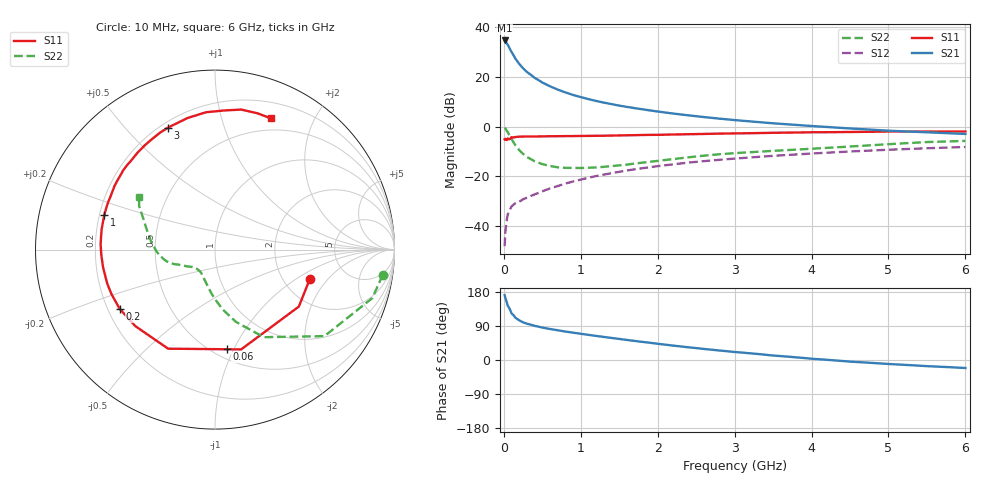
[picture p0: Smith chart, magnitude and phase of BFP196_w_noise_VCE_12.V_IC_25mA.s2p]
! Infineon Technologies  Discrete & RF Semiconductors
! BFP196
! VCE =  12. V,  IC =  25 mA
! Common Emitter S-Parameters:  Jan 2017
# GHz  S  MA  R  50
!  f  S11  S21  S12  S22
! GHz  MAG  ANG  MAG  ANG  MAG  ANG  MAG  ANG
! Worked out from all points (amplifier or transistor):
!   77 points, 10 MHz to 6 GHz, reference 50 ohm
!   highest |S21| = 34.7 dB at 10 MHz (marker M1)
!   |S21| within 3 dB of that: start of sweep to 72.11 MHz
!   unconditionally stable (mu >= 1): 780.2 MHz to 2.378 GHz
!   at 130 MHz: K = 0.42, MSG = 29.9 dB, |S12| = -31.4 dB
!   at 2.2 GHz: K = 1.01, MAG = 9.5 dB, |S12| = -15.2 dB
!   at 6 GHz: K = 0.92, MSG = 2.6 dB, |S12| = -8.2 dB
!   lowest NFmin = 1.15 dB at 450 MHz
!   S11 on the Smith chart (normalised r, x): 10 MHz: 2.77, -1.32; 60 MHz: 0.58, -0.94; 200 MHz: 0.25, -0.27; 1 GHz: 0.22, +0.14; 3 GHz: 0.23, +0.66; 6 GHz: 0.37, +1.45
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0.01  0.553 -17.4  54.12 171.3  0.0039 71.6  0.9449 -8.6
0.02  0.5647 -34.2  53.06 163.6  0.0077 70.3  0.9174 -17.1
0.05  0.5748 -75.3  44.59 143.5  0.0168 60.4  0.7775 -38.3
0.06  0.5589 -83.4  41.67 140.4  0.0183 57.7  0.7264 -41.7
0.1  0.6107 -115.3  31.7 123.0  0.0245 50.2  0.5586 -60.9
0.15  0.6156 -136.2  23.34 111.8  0.0286 45.4  0.4185 -73.9
0.2  0.6252 -148.2  18.26 104.6  0.0306 46.4  0.3357 -82.8
0.25  0.6278 -156.7  14.9 99.4  0.0343 46.9  0.2816 -89.1
0.3  0.6296 -162.5  12.55 95.8  0.037 49.0  0.2443 -94.8
0.4  0.6314 -171.0  9.575 90.0  0.043 53.3  0.1995 -103.1
0.5  0.6342 -177.4  7.697 85.6  0.0495 54.6  0.1753 -109.9
0.6  0.6377 177.6  6.457 81.8  0.0568 56.4  0.1609 -115.9
0.7  0.639 173.5  5.545 78.5  0.0633 58.5  0.1508 -120.5
1  0.6461 162.7  3.915 69.2  0.0855 59.6  0.1463 -132.0
1.1  0.6486 159.3  3.567 66.4  0.0929 59.5  0.1478 -134.4
1.5  0.6628 147.6  2.639 55.6  0.1227 57.3  0.1652 -144.7
2.1  0.6854 131.1  1.915 40.5  0.1663 51.7  0.2122 -156.1
3  0.7284 111.1  1.349 21.1  0.2262 41.6  0.2915 -169.6
3.1  0.7309 109.2  1.309 19.5  0.2322 40.4  0.2975 -171.3
4.1  0.7679 92.2  1.002 2.0  0.2915 29.2  0.3644 171.1
5.1  0.7932 78.1  0.813 -11.6  0.3458 17.8  0.4499 154.6
6  0.7949 66.9  0.709 -21.1  0.3875 7.6  0.5137 145.4
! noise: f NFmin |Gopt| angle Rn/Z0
0.45  1.15  0.34  164  0.05
0.9  1.34  0.45  -176  0.06
1.9  2.21  0.68  -136  0.24
2.4  2.64  0.71  -122  0.59
